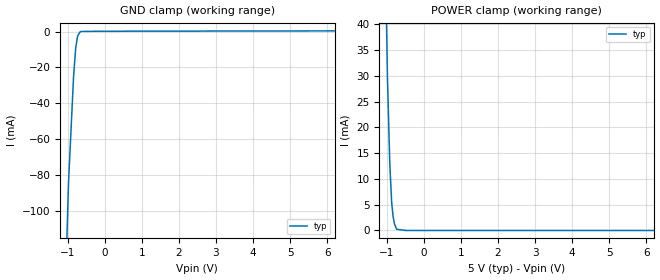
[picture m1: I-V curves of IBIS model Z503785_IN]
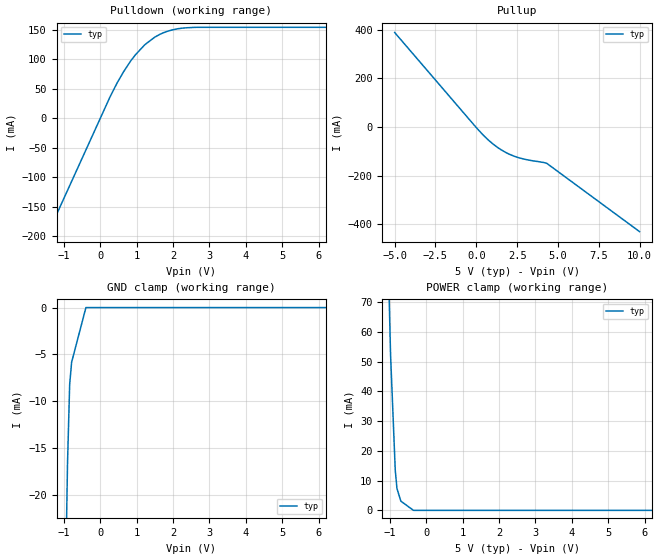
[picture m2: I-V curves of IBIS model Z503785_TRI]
| YOU ARE ONLY AUTHORIZED TO USE THIS SOFTWARE
| ACCORDING TO LICENSOR'S LICENSE RESTRICTIONS.
[IBIS Ver] 3.1
[File Name] mc74ac373n_5.ibs
[File Rev] 2.0
[Source] Measured and created by ICX Technology
[Date] Friday 7/14/00 9:08:00 AM
[Copyright]
| (C) COPYRIGHT 1993-2000
| MENTOR GRAPHICS CORPORATION
| ICX STANDARD LIBRARY, ICX PROJECT MODELING,
| ICX CUSTOM MODELING, ICX VENDOR MODEL
| ALL RIGHTS RESERVED.
| THE FOLLOWING ARE TRADEMARKS OR SERVICE MARKS OF
| MENTOR GRAPHICS CORPORATION:ICX (R), ICX STANDARD
| LIBRARY(R), ICX PROJECT MODELING(R), ICX CUSTOM
| MODELING(R), qualityIBIS(TM), MODELVIEWER(TM),
| AND MODELEDITOR(TM)
| ALL COPIES OF SOFTWARE, INCLUDING BUT NOT LIMITED TO
| ANY MODIFICATIONS, ENHANCEMENTS OR DERIVATIVE WORKS,
| MUST CONTAIN ALL MENTOR GRAPHICS CORPORATION'S
| NOTICES AND LEGENDS, INCLUDING THOSE EMBEDDED IN
| SOFTWARE AND THOSE AFFIXED TO SOFTWARE MEDIUM
| AND CONTAINER, AS RECEIVED FROM MENTOR GRAPHICS
| CORPORATION.
|  ZAP Model Builder 2.7
[Component] MC74AC373N_5
[Manufacturer] OnSemiconductor
[Package]
| variable   typ   min   max
R_pkg  .216ohms NA NA
L_pkg  5.76nH NA NA
C_pkg  1.29pF NA NA
[Pin] signal_name  model_name  R_pin  L_pin C_pin
1 _G Z503785_IN .232 9.76n 1.87p
2 Q0 Z503785_TRI .224 7.26n 1.58p
3 D0 Z503785_IN .216 5.26n 1.29p
4 D1 Z503785_IN .208 3.76n 1.0p
5 Q1 Z503785_TRI .2 2.76n .71p
6 Q2 Z503785_TRI .2 2.76n .71p
7 D2 Z503785_IN .208 3.76n 1.0p
8 D3 Z503785_IN .216 5.26n 1.29p
9 Q3 Z503785_TRI .224 7.26n 1.58p
10 GND GND .232 9.76n 1.87p
11 C Z503785_IN .232 9.76n 1.87p
12 Q4 Z503785_TRI .224 7.26n 1.58p
13 D4 Z503785_IN .216 5.26n 1.29p
14 D5 Z503785_IN .208 3.76n 1.0p
15 Q5 Z503785_TRI .2 2.76n .71p
16 Q6 Z503785_TRI .2 2.76n .71p
17 D6 Z503785_IN .208 3.76n 1.0p
18 D7 Z503785_IN .216 5.26n 1.29p
19 Q7 Z503785_TRI .224 7.26n 1.58p
20 VCC POWER .232 9.76n 1.87p
| Models and submodels in the file (2): Z503785_IN (Input), Z503785_TRI (3-state)
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| (C) COPYRIGHT 1993-2000
| MENTOR GRAPHICS CORPORATION
| ICX STANDARD LIBRARY, ICX PROJECT MODELING,
| ICX CUSTOM MODELING, ICX VENDOR MODEL
| ALL RIGHTS RESERVED.
| THE FOLLOWING ARE TRADEMARKS OR SERVICE MARKS OF
| MENTOR GRAPHICS CORPORATION:ICX (R), ICX STANDARD
| LIBRARY(R), ICX PROJECT MODELING(R), ICX CUSTOM
| MODELING(R), qualityIBIS(TM), MODELVIEWER(TM),
| AND MODELEDITOR(TM)
| ALL COPIES OF SOFTWARE, INCLUDING BUT NOT LIMITED TO
| ANY MODIFICATIONS, ENHANCEMENTS OR DERIVATIVE WORKS,
| MUST CONTAIN ALL MENTOR GRAPHICS CORPORATION'S
| NOTICES AND LEGENDS, INCLUDING THOSE EMBEDDED IN
| SOFTWARE AND THOSE AFFIXED TO SOFTWARE MEDIUM
| AND CONTAINER, AS RECEIVED FROM MENTOR GRAPHICS
| CORPORATION.
| Model Application Version 1.89 2/18/99.
[Model] Z503785_IN
Model_type Input
Vinl = 1.500V
Vinh = 3.500V
C_comp 4.000pF NA NA
| variable typ   min   max
[Voltage Range] 5.000V NA NA
[GND Clamp Reference] 0.000V NA NA
[POWER Clamp Reference] 5.000V NA NA
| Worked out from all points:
|   GND clamp passes 1 mA (typ) near -0.69 V on its own axis
|   POWER clamp passes 1 mA (typ) near -0.78 V on its own axis
[GND Clamp]
-5V       -4.319A    NA         NA
-1.045V   -135.4mA   NA         NA
-976.4mV  -85.51mA   NA         NA
-839.8mV  -25.79mA   NA         NA
-781mV    -9.236mA   NA         NA
-729.4mV  -2.527mA   NA         NA
-667.4mV  -274.8uA   NA         NA
-628mV    41.65uA    NA         NA
10V       550.9uA    NA         NA
[POWER Clamp]
-5V       2.981A     NA         NA
-1.436V   274mA      NA         NA
-1.132V   95.2mA     NA         NA
-982mV    29.81mA    NA         NA
-918mV    12.89mA    NA         NA
-868mV    5.489mA    NA         NA
-830mV    2.777mA    NA         NA
-792mV    1.246mA    NA         NA
-732mV    236.5uA    NA         NA
-488mV    0A         NA         NA
10V       0A         NA         NA
| (C) COPYRIGHT 1993-2000
| MENTOR GRAPHICS CORPORATION
| ICX STANDARD LIBRARY, ICX PROJECT MODELING,
| ICX CUSTOM MODELING, ICX VENDOR MODEL
| ALL RIGHTS RESERVED.
| THE FOLLOWING ARE TRADEMARKS OR SERVICE MARKS OF
| MENTOR GRAPHICS CORPORATION:ICX (R), ICX STANDARD
| LIBRARY(R), ICX PROJECT MODELING(R), ICX CUSTOM
| MODELING(R), qualityIBIS(TM), MODELVIEWER(TM),
| AND MODELEDITOR(TM)
| ALL COPIES OF SOFTWARE, INCLUDING BUT NOT LIMITED TO
| ANY MODIFICATIONS, ENHANCEMENTS OR DERIVATIVE WORKS,
| MUST CONTAIN ALL MENTOR GRAPHICS CORPORATION'S
| NOTICES AND LEGENDS, INCLUDING THOSE EMBEDDED IN
| SOFTWARE AND THOSE AFFIXED TO SOFTWARE MEDIUM
| AND CONTAINER, AS RECEIVED FROM MENTOR GRAPHICS
| CORPORATION.
| Model Application Version 1.89 2/18/99.
[Model] Z503785_TRI
Model_type 3-state
Vref=0.000V
Rref=500.0ohms
Cref=50.00pF
Vmeas=2.500V
C_comp 8.000pF NA NA
| variable typ   min   max
[Voltage Range] 5.000V NA NA
[POWER Clamp Reference] 5.000V NA NA
[Pullup Reference] 5.000V NA NA
[Pulldown Reference] 0.000V NA NA
[GND Clamp Reference] 0.000V NA NA
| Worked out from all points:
|   slope of the pulldown table from 0 to 0.75 V, typ, clamps not added: 8.39 ohm
|   slope of the pullup table from 0 to 0.75 V, typ, clamps not added: 14.4 ohm
[GND Clamp]
-5V       -789mA     NA         NA
-1.111V   -66.56mA   NA         NA
-898.2mV  -16.65mA   NA         NA
-839mV    -8.19mA    NA         NA
-785.6mV  -5.841mA   NA         NA
-392.8mV  0A         NA         NA
10V       0A         NA         NA
[Pulldown]
-5V       -679mA     NA         NA
267.6mV   36.25mA    NA         NA
460.7mV   59.77mA    NA         NA
640.1mV   78.99mA    NA         NA
838.1mV   97.61mA    NA         NA
968.4mV   108mA      NA         NA
1.228V    125.1mA    NA         NA
1.496V    137.7mA    NA         NA
1.728V    145.1mA    NA         NA
2.158V    152.3mA    NA         NA
2.575V    154.4mA    NA         NA
10V       154.5mA    NA         NA
[Pullup]
-5V       389mA      NA         NA
37mV      -5.108mA   NA         NA
426mV     -33.21mA   NA         NA
1.024V    -69.76mA   NA         NA
1.558V    -95.07mA   NA         NA
2.312V    -119.7mA   NA         NA
2.856V    -130.8mA   NA         NA
4.319V    -149.4mA   NA         NA
10V       -430.3mA   NA         NA
[POWER Clamp]
-5V       2.503A     NA         NA
-1.174V   149.9mA    NA         NA
-977mV    52.46mA    NA         NA
-848mV    13.57mA    NA         NA
-801mV    7.344mA    NA         NA
-694mV    3.097mA    NA         NA
-347mV    0A         NA         NA
10V       0A         NA         NA
[Ramp]
| variable typ min max
dV/dt_r 2.938/585.2p NA NA
dV/dt_f 2.938/569.8p NA NA
R_load = 500.0Ohms
